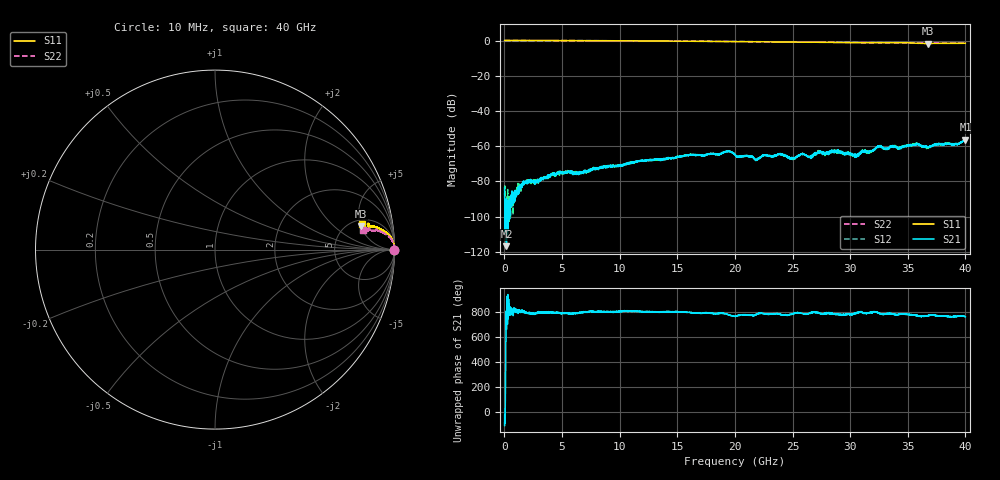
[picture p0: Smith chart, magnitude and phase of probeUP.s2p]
!Keysight Technologies,N5222B,MY61257109,A.17.25.03
!Date: Tuesday, July 21, 2026 11:55:19
!Correction: S11(C  2-Port  )
!S21(C  2-Port  )
!S12(C  2-Port  )
!S22(C  2-Port  )
!S2P File: Measurements: S11, S21, S12, S22:
# Hz S  dB  R 50
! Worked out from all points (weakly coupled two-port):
!   4000 points, 10 MHz to 40 GHz, reference 50 ohm
!   highest |S21| = -56.22 dB at 40 GHz (marker M1); lowest = -116.7 dB at 170 MHz (marker M2)
!   lowest |S11| = -1.7 dB at 36.75 GHz (marker M3), VSWR 10.20, Z = 306 + j248 ohm
!   |S11| at or under -10 dB: nowhere
!   |S22| runs from -1.6 to 0.0 dB; largest |S21 - S12| = 0.00015
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1e7  -0.02 -0.2  -83.69 -111.1  -86.84 129.6  -0.00 0.0
1.7e8  0.02 0.1  -116.71 -61.4  -91.30 -1.2  -0.00 0.1
2.78e9  -0.01 1.2  -80.67 70.5  -80.19 70.0  -0.01 1.0
4.77e9  -0.03 2.0  -74.80 68.4  -76.54 71.4  -0.04 1.7
6.68e9  -0.07 2.8  -75.49 74.0  -74.95 77.2  -0.07 2.4
1.334e10  -0.29 5.2  -67.73 77.9  -67.10 79.2  -0.27 4.3
1.936e10  -0.58 6.8  -62.75 58.4  -62.78 61.2  -0.54 5.7
2.001e10  -0.62 7.0  -64.72 43.9  -64.63 43.4  -0.57 5.9
2.186e10  -0.72 7.4  -67.47 58.2  -67.94 60.5  -0.66 6.2
2.386e10  -0.83 7.8  -64.31 62.2  -64.63 61.1  -0.75 6.6
2.499e10  -0.88 7.9  -66.97 61.4  -66.89 61.7  -0.82 6.7
2.582e10  -0.93 8.0  -64.45 66.7  -64.21 69.4  -0.85 6.9
2.667e10  -0.99 8.3  -65.55 76.0  -65.98 74.2  -0.87 7.1
2.725e10  -1.00 8.2  -63.08 73.4  -63.18 70.6  -0.88 7.0
2.854e10  -1.11 8.4  -62.63 64.8  -62.89 63.1  -0.94 6.7
3.045e10  -1.25 8.9  -65.22 66.2  -64.84 70.8  -1.10 6.9
3.251e10  -1.27 9.3  -59.94 68.8  -60.10 70.8  -1.23 7.6
3.334e10  -1.24 9.4  -60.88 65.3  -61.23 66.8  -1.24 7.8
3.575e10  -1.52 7.7  -58.84 49.6  -59.01 53.5  -1.33 7.6
3.675e10  -1.71 9.2  -60.34 46.4  -60.60 52.7  -1.28 8.3
3.929e10  -1.59 9.9  -58.93 44.5  -58.68 43.2  -1.44 6.9
4e10  -1.58 9.6  -56.22 39.8  -56.32 39.1  -1.57 7.5
